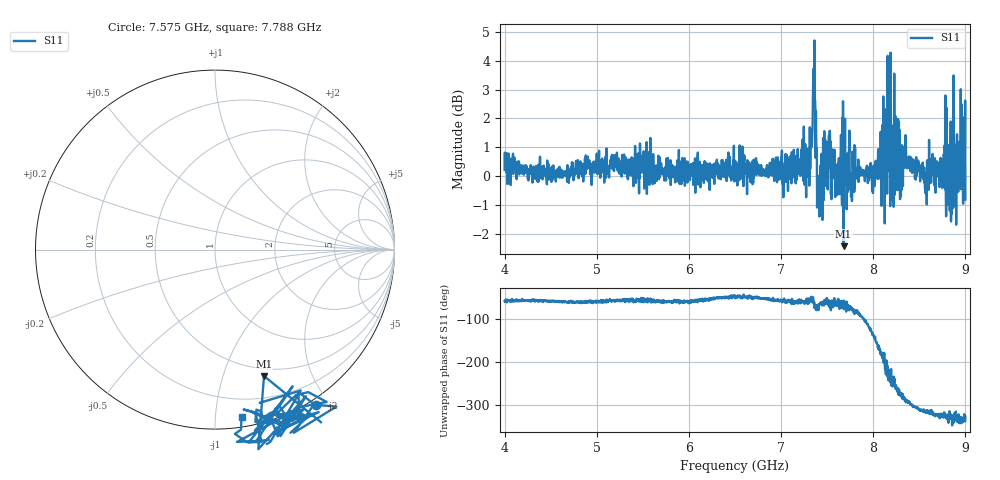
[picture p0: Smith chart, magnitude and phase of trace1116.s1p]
! Created with skrf 1.8.0 (http://scikit-rf.org).
# Hz S RI R 50.0
!freq ReS11 ImS11
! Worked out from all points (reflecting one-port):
!   1601 points, 4 GHz to 9 GHz, reference 50 ohm
!   lowest |S11| = -2.4 dB at 7.678 GHz (marker M1), VSWR 7.18, Z = 20.9 - j68.7 ohm
!   phase of S11 starts at -59 deg and turns -269 deg over the sweep
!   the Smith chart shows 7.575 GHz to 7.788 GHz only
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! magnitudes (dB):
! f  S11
! 4 GHz  0.2
! 4.625 GHz  -0.1
! 5.25 GHz  0.1
! 5.875 GHz  0.5
! 6.5 GHz  0.5
! 7.125 GHz  0.3
! 7.294 GHz  0.1
! 7.356 GHz  3.6
! 7.369 GHz  2.6
! 7.4 GHz  -0.4
! 7.425 GHz  0.1
! 7.512 GHz  0.5
! 7.609 GHz  -0.6
! 7.65 GHz  1.4
! 7.678 GHz  -2.4
! 7.75 GHz  -0.1
! 8 GHz  0.0
! 8.128 GHz  2.3
! 8.178 GHz  3.6
! 8.197 GHz  0.5
! 8.253 GHz  1.1
! 8.312 GHz  1.1
! 8.375 GHz  0.5
! 8.578 GHz  0.0
! 8.759 GHz  0.3
! 8.919 GHz  -0.2
! 8.972 GHz  0.4
! 9 GHz  -0.8
